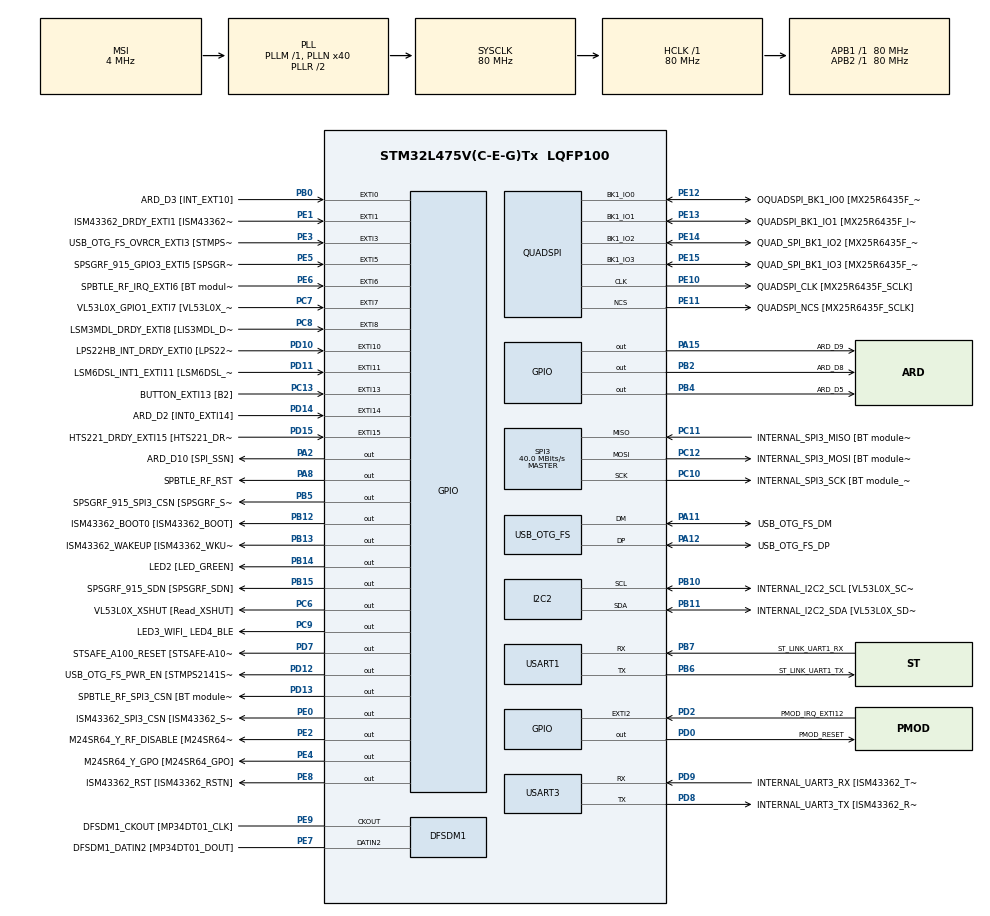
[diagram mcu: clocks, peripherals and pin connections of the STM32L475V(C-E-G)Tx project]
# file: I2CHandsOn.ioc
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Dma.I2C2_RX.0.Direction=DMA_PERIPH_TO_MEMORY
Dma.I2C2_RX.0.Instance=DMA1_Channel5
Dma.I2C2_RX.0.MemDataAlignment=DMA_MDATAALIGN_BYTE
Dma.I2C2_RX.0.MemInc=DMA_MINC_ENABLE
Dma.I2C2_RX.0.Mode=DMA_NORMAL
Dma.I2C2_RX.0.PeriphDataAlignment=DMA_PDATAALIGN_BYTE
Dma.I2C2_RX.0.PeriphInc=DMA_PINC_DISABLE
Dma.I2C2_RX.0.Priority=DMA_PRIORITY_LOW
Dma.I2C2_TX.1.Direction=DMA_MEMORY_TO_PERIPH
Dma.I2C2_TX.1.Instance=DMA1_Channel4
Dma.I2C2_TX.1.MemDataAlignment=DMA_MDATAALIGN_BYTE
Dma.I2C2_TX.1.MemInc=DMA_MINC_ENABLE
Dma.I2C2_TX.1.Mode=DMA_NORMAL
Dma.I2C2_TX.1.PeriphDataAlignment=DMA_PDATAALIGN_BYTE
Dma.I2C2_TX.1.PeriphInc=DMA_PINC_DISABLE
Dma.I2C2_TX.1.Priority=DMA_PRIORITY_LOW
Dma.Request0=I2C2_RX
Dma.Request1=I2C2_TX
I2C2.Timing=0x10909CEC
Mcu.Family=STM32L4
Mcu.Name=STM32L475V(C-E-G)Tx
Mcu.Package=LQFP100
NVIC.DMA1_Channel4_IRQn=true\:0\:0\:false\:false\:true\:false\:true
NVIC.DMA1_Channel5_IRQn=true\:0\:0\:false\:false\:true\:false\:true
NVIC.EXTI15_10_IRQn=true\:0\:0\:false\:false\:true\:true\:true
NVIC.EXTI9_5_IRQn=true\:0\:0\:false\:false\:true\:true\:true
NVIC.I2C2_EV_IRQn=true\:0\:0\:false\:false\:true\:true\:true
NVIC.PriorityGroup=NVIC_PRIORITYGROUP_4
PA0.GPIO_Label=ARD_D1 [UART4_TX]
PA0.Signal=UART4_TX
PA1.GPIO_Label=ARD_D0 [UART4_RX]
PA1.Signal=UART4_RX
PA10.GPIO_Label=USB_OTG_FS_ID
PA10.Signal=USB_OTG_FS_ID
PA11.GPIO_Label=USB_OTG_FS_DM
PA11.Mode=Device_Only
PA11.Signal=USB_OTG_FS_DM
PA12.GPIO_Label=USB_OTG_FS_DP
PA12.Mode=Device_Only
PA12.Signal=USB_OTG_FS_DP
PA13\ (JTMS-SWDIO).GPIO_Label=SYS_JTMS_SWDIO
PA13\ (JTMS-SWDIO).Mode=Serial_Wire
PA13\ (JTMS-SWDIO).Signal=SYS_JTMS-SWDIO
PA14\ (JTCK-SWCLK).GPIO_Label=SYS_JTCK_SWCLK
PA14\ (JTCK-SWCLK).Mode=Serial_Wire
PA14\ (JTCK-SWCLK).Signal=SYS_JTCK-SWCLK
PA15\ (JTDI).GPIO_Label=ARD_D9
PA15\ (JTDI).Signal=GPIO_Output
PA2.GPIO_Label=ARD_D10 [SPI_SSN]
PA2.Signal=GPIO_Output
PA3.GPIO_Label=ARD_D4
PA3.Signal=S_TIM2_CH4
PA4.GPIO_Label=ARD_D7
PA4.Signal=ADCx_IN9
PA5.GPIO_Label=ARD_D13 [SPI1_SCK]
PA5.Signal=SPI1_SCK
PA6.GPIO_Label=ARD_D12 [SPI1_MISO]
PA6.Signal=SPI1_MISO
PA7.GPIO_Label=ARD_D11 [SPI1_MOSI]
PA7.Signal=SPI1_MOSI
PA8.GPIO_Label=SPBTLE_RF_RST
PA8.Signal=GPIO_Output
PA9.GPIO_Label=USB_OTG_FS_VBUS [STMPS2141STR_OUT]
PA9.Signal=USB_OTG_FS_VBUS
PB0.GPIO_Label=ARD_D3 [INT_EXT10]
PB0.Signal=GPXTI0
PB1.GPIO_Label=ARD_D6 [ADC1_IN6]
PB1.Signal=ADCx_IN16
PB10.GPIO_Label=INTERNAL_I2C2_SCL [VL53L0X_SCL]
PB10.GPIO_Pu=GPIO_PULLUP
PB10.Mode=I2C
PB10.Signal=I2C2_SCL
PB11.GPIO_Label=INTERNAL_I2C2_SDA [VL53L0X_SDA]
PB11.GPIO_Pu=GPIO_PULLUP
PB11.Mode=I2C
PB11.Signal=I2C2_SDA
PB12.GPIO_Label=ISM43362_BOOT0 [ISM43362_BOOT]
PB12.Signal=GPIO_Output
PB13.GPIO_Label=ISM43362_WAKEUP [ISM43362_WKUP]
PB13.Signal=GPIO_Output
PB14.GPIO_Label=LED2 [LED_GREEN]
PB14.Signal=GPIO_Output
PB15.GPIO_Label=SPSGRF_915_SDN [SPSGRF_SDN]
PB15.Signal=GPIO_Output
PB2.GPIO_Label=ARD_D8
PB2.Signal=GPIO_Output
PB3\ (JTDO-TRACESWO).GPIO_Label=SYS_JTD0_SWO
PB3\ (JTDO-TRACESWO).Signal=SYS_JTDO-SWO
PB4\ (NJTRST).GPIO_Label=ARD_D5
PB4\ (NJTRST).Signal=GPIO_Output
PB5.GPIO_Label=SPSGRF_915_SPI3_CSN [SPSGRF_SPI_CS]
PB5.PinState=GPIO_PIN_SET
PB5.Signal=GPIO_Output
PB6.GPIO_Label=ST_LINK_UART1_TX
PB6.Mode=Asynchronous
PB6.Signal=USART1_TX
PB7.GPIO_Label=ST_LINK_UART1_RX
PB7.Mode=Asynchronous
PB7.Signal=USART1_RX
PB8.GPIO_Label=ARD_D15 [I2C1_SCL]
PB8.Signal=I2C1_SCL
PB9.GPIO_Label=ARD_D14 [I2C1_SDA]
PB9.Signal=I2C1_SDA
PC0.GPIO_Label=ARD_A5 [ADC]
PC0.Signal=ADCx_IN1
PC1.GPIO_Label=ARD_A4 [ADC]
PC1.Signal=ADCx_IN2
PC10.GPIO_Label=INTERNAL_SPI3_SCK [BT module_SPI_SCLK] [ISM43362_SCK]
PC10.Mode=Full_Duplex_Master
PC10.Signal=SPI3_SCK
PC11.GPIO_Label=INTERNAL_SPI3_MISO [BT module_SPI_MISO] [ISM43362_MISO]
PC11.Mode=Full_Duplex_Master
PC11.Signal=SPI3_MISO
PC12.GPIO_Label=INTERNAL_SPI3_MOSI [BT module_SPI_MOSI] [ISM43362_MOSI]
PC12.Mode=Full_Duplex_Master
PC12.Signal=SPI3_MOSI
PC13.GPIO_Label=BUTTON_EXTI13 [B2]
PC13.GPIO_ModeDefaultEXTI=GPIO_MODE_IT_FALLING
PC13.Signal=GPXTI13
PC14-OSC32_IN\ (PC14).Mode=LSE-External-Oscillator
PC14-OSC32_IN\ (PC14).Signal=RCC_OSC32_IN
PC15-OSC32_OUT\ (PC15).Mode=LSE-External-Oscillator
PC15-OSC32_OUT\ (PC15).Signal=RCC_OSC32_OUT
PC2.GPIO_Label=ARD_A3 [ADC]
PC2.Signal=ADCx_IN3
PC3.GPIO_Label=ARD_A2 [ADC]
PC3.Signal=ADCx_IN4
PC4.GPIO_Label=ARD_A1 [ADC]
PC4.Signal=ADCx_IN13
PC5.GPIO_Label=ARD_A0 [ADC]
PC5.Signal=ADCx_IN14
PC6.GPIO_Label=VL53L0X_XSHUT [Read_XSHUT]
PC6.Signal=GPIO_Output
PC7.GPIO_Label=VL53L0X_GPIO1_EXTI7 [VL53L0X_GPIO1]
PC7.Signal=GPXTI7
PC8.GPIO_Label=LSM3MDL_DRDY_EXTI8 [LIS3MDL_DRDY]
PC8.Signal=GPXTI8
PC9.GPIO_Label=LED3_WIFI_ LED4_BLE
PC9.Signal=GPIO_Output
PD0.GPIO_Label=PMOD_RESET
PD0.Signal=GPIO_Output
PD1.GPIO_Label=PMOD_SPI2_SCK
PD1.Signal=SPI2_SCK
PD10.GPIO_Label=LPS22HB_INT_DRDY_EXTI0 [LPS22HB_INT_DRDY] 
PD10.Signal=GPXTI10
PD11.GPIO_Label=LSM6DSL_INT1_EXTI11 [LSM6DSL_INT1]
PD11.Signal=GPXTI11
PD12.GPIO_Label=USB_OTG_FS_PWR_EN [STMPS2141STR_EN]
PD12.Signal=GPIO_Output
PD13.GPIO_Label=SPBTLE_RF_SPI3_CSN [BT module_SPI_CS]
PD13.PinState=GPIO_PIN_SET
PD13.Signal=GPIO_Output
PD14.GPIO_Label=ARD_D2 [INT0_EXTI14]
PD14.Signal=GPXTI14
PD15.GPIO_Label=HTS221_DRDY_EXTI15 [HTS221_DRDY]
PD15.Signal=GPXTI15
PD2.GPIO_Label=PMOD_IRQ_EXTI12
PD2.Signal=GPXTI2
PD3.GPIO_Label=PMOD_UART2_CTS
PD3.Signal=USART2_CTS
PD4.GPIO_Label=PMOD_UART2_RTS
PD4.Signal=USART2_RTS
PD5.GPIO_Label=PMOD_UART2_TX
PD5.Signal=USART2_TX
PD6.GPIO_Label=PMOD_UART2_RX
PD6.Signal=USART2_RX
PD7.GPIO_Label=STSAFE_A100_RESET [STSAFE-A100_RESET]
PD7.Signal=GPIO_Output
PD8.GPIO_Label=INTERNAL_UART3_TX [ISM43362_RX]
PD8.Mode=Asynchronous
PD8.Signal=USART3_TX
PD9.GPIO_Label=INTERNAL_UART3_RX [ISM43362_TX]
PD9.Mode=Asynchronous
PD9.Signal=USART3_RX
PE0.GPIO_Label=ISM43362_SPI3_CSN [ISM43362_SSN]
PE0.PinState=GPIO_PIN_SET
PE0.Signal=GPIO_Output
PE1.GPIO_Label=ISM43362_DRDY_EXTI1 [ISM43362_DATARDY]
PE1.Signal=GPXTI1
PE10.GPIO_Label=QUADSPI_CLK [MX25R6435F_SCLK]
PE10.Mode=Single Bank
PE10.Signal=QUADSPI_CLK
PE11.GPIO_Label=QUADSPI_NCS [MX25R6435F_SCLK]
PE11.Mode=Single Bank
PE11.Signal=QUADSPI_NCS
PE12.GPIO_Label=OQUADSPI_BK1_IO0 [MX25R6435F_IO0]
PE12.Mode=Single Bank
PE12.Signal=QUADSPI_BK1_IO0
PE13.GPIO_Label=QUADSPI_BK1_IO1 [MX25R6435F_IO1]
PE13.Mode=Single Bank
PE13.Signal=QUADSPI_BK1_IO1
PE14.GPIO_Label=QUAD_SPI_BK1_IO2 [MX25R6435F_IO2]
PE14.Mode=Single Bank
PE14.Signal=QUADSPI_BK1_IO2
PE15.GPIO_Label=QUAD_SPI_BK1_IO3 [MX25R6435F_IO3]
PE15.Mode=Single Bank
PE15.Signal=QUADSPI_BK1_IO3
PE2.GPIO_Label=M24SR64_Y_RF_DISABLE [M24SR64_RFDIS]
PE2.Signal=GPIO_Output
PE3.GPIO_Label=USB_OTG_FS_OVRCR_EXTI3 [STMPS2141STR_FAULT]
PE3.Signal=GPXTI3
PE4.GPIO_Label=M24SR64_Y_GPO [M24SR64_GPO]
PE4.Signal=GPIO_Output
PE5.GPIO_Label=SPSGRF_915_GPIO3_EXTI5 [SPSGRF_GPIO_3]
PE5.Signal=GPXTI5
PE6.GPIO_Label=SPBTLE_RF_IRQ_EXTI6 [BT module_SPI_IRQ]
PE6.Signal=GPXTI6
PE7.GPIO_Label=DFSDM1_DATIN2 [MP34DT01_DOUT]
PE7.Signal=S_DATAIN2DFSDM1
PE8.GPIO_Label=ISM43362_RST [ISM43362_RSTN]
PE8.Signal=GPIO_Output
PE9.GPIO_Label=DFSDM1_CKOUT [MP34DT01_CLK]
PE9.Signal=S_CKOUTDFSDM1
ProjectManager.HeapSize=0x200
ProjectManager.StackSize=0x400
ProjectManager.TargetToolchain=STM32CubeIDE
QUADSPI.ClockPrescaler=2
QUADSPI.FifoThreshold=4
QUADSPI.FlashSize=23
QUADSPI.SampleShifting=QSPI_SAMPLE_SHIFTING_HALFCYCLE
RCC.ADCFreq_Value=48000000
RCC.AHBFreq_Value=80000000
RCC.APB1Freq_Value=80000000
RCC.APB1TimFreq_Value=80000000
RCC.APB2Freq_Value=80000000
RCC.APB2TimFreq_Value=80000000
RCC.CortexFreq_Value=80000000
RCC.HCLKFreq_Value=80000000
RCC.HSE_VALUE=8000000
RCC.HSI_VALUE=16000000
RCC.MSI_VALUE=4000000
RCC.PLLN=40
RCC.PLLSAI1N=24
RCC.SYSCLKFreq_VALUE=80000000
RCC.SYSCLKSource=RCC_SYSCLKSOURCE_PLLCLK
RCC.USBFreq_Value=48000000
RCC.VCOOutputFreq_Value=160000000
SH.ADCx_IN1.0=ADC1_IN1
SH.ADCx_IN13.0=ADC1_IN13
SH.ADCx_IN14.0=ADC1_IN14
SH.ADCx_IN16.0=ADC1_IN16
SH.ADCx_IN2.0=ADC1_IN2
SH.ADCx_IN3.0=ADC1_IN3
SH.ADCx_IN4.0=ADC1_IN4
SH.ADCx_IN9.0=ADC1_IN9
SH.S_CKOUTDFSDM1.0=DFSDM1_CKOUT,CKOUT
SH.S_CKOUTDFSDM1.1=DFSDM1_CKOUT,PDM_SPI_Input_from_ch12_and_Internal_Clock
SH.S_DATAIN2DFSDM1.0=DFSDM1_DATIN2,PDM_SPI_Input_from_ch12_and_Internal_Clock
SH.S_TIM2_CH4.0=TIM2_CH4
SPI3.CalculateBaudRate=40.0 MBits/s
SPI3.Direction=SPI_DIRECTION_2LINES
SPI3.Mode=SPI_MODE_MASTER
SPI3.VirtualType=VM_MASTER
USART1.VirtualMode-Asynchronous=VM_ASYNC
USART3.VirtualMode-Asynchronous=VM_ASYNC
USB_OTG_FS.VirtualMode=Device_Only
board=B-L475E-IOT01A1

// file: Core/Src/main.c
/* USER CODE BEGIN Header */
/**
 ******************************************************************************
 * @file           : main.c
 * @brief          : Main program body
 ******************************************************************************
 * @attention
 *
 * <h2><center>&copy; Copyright (c) 2021 STMicroelectronics.
 * All rights reserved.</center></h2>
 *
 * This software component is licensed by ST under BSD 3-Clause license,
 * the "License"; You may not use this file except in compliance with the
 * License. You may obtain a copy of the License at:
 *                        opensource.org/licenses/BSD-3-Clause
 *
 ******************************************************************************
 */
/* USER CODE END Header */
#include "main.h"

/* USER CODE BEGIN Includes */
#include <string.h>
#include <stdio.h>
/* USER CODE END Includes */

/* USER CODE BEGIN PD */
#define HST221_READ_ADDRESS         0xbf
#define HST221_WRITE_ADDRESS        0xbe
/* USER CODE END PD */

DFSDM_Channel_HandleTypeDef hdfsdm1_channel1;

I2C_HandleTypeDef hi2c2;
DMA_HandleTypeDef hdma_i2c2_rx;
DMA_HandleTypeDef hdma_i2c2_tx;

QSPI_HandleTypeDef hqspi;

SPI_HandleTypeDef hspi3;

UART_HandleTypeDef huart1;
UART_HandleTypeDef huart3;

PCD_HandleTypeDef hpcd_USB_OTG_FS;

/* USER CODE BEGIN PV */

uint8_t irq_tx_complete = 0;
uint8_t irq_rx_complete = 0;
uint16_t temperature_data = 0x4242; // for interrupt and dma
/* USER CODE END PV */

void SystemClock_Config(void);
static void MX_GPIO_Init(void);
static void MX_DFSDM1_Init(void);
static void MX_I2C2_Init(void);
static void MX_QUADSPI_Init(void);
static void MX_SPI3_Init(void);
static void MX_USART1_UART_Init(void);
static void MX_USART3_UART_Init(void);
static void MX_DMA_Init(void);
static void MX_USB_OTG_FS_PCD_Init(void);
/* USER CODE BEGIN PFP */

void do_who_am_i(void);

void do_temp_polling(void);

void do_temp_interrupt(void);

void do_temp_dma(void);

/* USER CODE END PFP */

int main(void) {

    /* MCU Configuration--------------------------------------------------------*/

    /* Reset of all peripherals, Initializes the Flash interface and the Systick. */
    HAL_Init();

    /* Configure the system clock */
    SystemClock_Config();

    /* Initialize all configured peripherals */
    MX_GPIO_Init();
    MX_DFSDM1_Init();
    MX_I2C2_Init();
    MX_QUADSPI_Init();
    MX_SPI3_Init();
    MX_USART1_UART_Init();
    MX_USART3_UART_Init();
    MX_DMA_Init();
    MX_USB_OTG_FS_PCD_Init();

    /* Infinite loop */
    /* USER CODE BEGIN WHILE */
    while (1) {

        // Issue command prompt
        char *prompt = "Options: 1=Who_AM_I, 2=Temp(Polling), 3=Temp(Int), 4=Temp(DMA)\r\ncmd>";
        HAL_UART_Transmit(&huart1, (uint8_t*) prompt, strlen(prompt), 1000);

        char ch;
        HAL_UART_Receive(&huart1, (uint8_t*) &ch, 1, HAL_MAX_DELAY);

        char *msg = "\r\n";
        HAL_UART_Transmit(&huart1, (uint8_t*) msg, strlen(msg), 1000);

        switch (ch) {
            case '1':
                do_who_am_i();
                break;
            case '2':
                do_temp_polling();
                break;
            case '3':
                do_temp_interrupt();
                break;
            case '4':
                do_temp_dma();
                break;
        }

        /* USER CODE END WHILE */

    }
}

void SystemClock_Config(void) {
    RCC_OscInitTypeDef RCC_OscInitStruct = { 0 };
    RCC_ClkInitTypeDef RCC_ClkInitStruct = { 0 };

    /** Configure the main internal regulator output voltage
     */
    if (HAL_PWREx_ControlVoltageScaling(PWR_REGULATOR_VOLTAGE_SCALE1) != HAL_OK) {
        Error_Handler();
    }
    /** Configure LSE Drive Capability
     */
    HAL_PWR_EnableBkUpAccess();
    __HAL_RCC_LSEDRIVE_CONFIG(RCC_LSEDRIVE_LOW);
    /** Initializes the RCC Oscillators according to the specified parameters
     * in the RCC_OscInitTypeDef structure.
     */
    RCC_OscInitStruct.OscillatorType = RCC_OSCILLATORTYPE_LSE | RCC_OSCILLATORTYPE_MSI;
    RCC_OscInitStruct.LSEState = RCC_LSE_ON;
    RCC_OscInitStruct.MSIState = RCC_MSI_ON;
    RCC_OscInitStruct.MSICalibrationValue = 0;
    RCC_OscInitStruct.MSIClockRange = RCC_MSIRANGE_6;
    RCC_OscInitStruct.PLL.PLLState = RCC_PLL_ON;
    RCC_OscInitStruct.PLL.PLLSource = RCC_PLLSOURCE_MSI;
    RCC_OscInitStruct.PLL.PLLM = 1;
    RCC_OscInitStruct.PLL.PLLN = 40;
    RCC_OscInitStruct.PLL.PLLP = RCC_PLLP_DIV7;
    RCC_OscInitStruct.PLL.PLLQ = RCC_PLLQ_DIV2;
    RCC_OscInitStruct.PLL.PLLR = RCC_PLLR_DIV2;
    if (HAL_RCC_OscConfig(&RCC_OscInitStruct) != HAL_OK) {
        Error_Handler();
    }
    /** Initializes the CPU, AHB and APB buses clocks
     */
    RCC_ClkInitStruct.ClockType = RCC_CLOCKTYPE_HCLK | RCC_CLOCKTYPE_SYSCLK | RCC_CLOCKTYPE_PCLK1 | RCC_CLOCKTYPE_PCLK2;
    RCC_ClkInitStruct.SYSCLKSource = RCC_SYSCLKSOURCE_PLLCLK;
    RCC_ClkInitStruct.AHBCLKDivider = RCC_SYSCLK_DIV1;
    RCC_ClkInitStruct.APB1CLKDivider = RCC_HCLK_DIV1;
    RCC_ClkInitStruct.APB2CLKDivider = RCC_HCLK_DIV1;

    if (HAL_RCC_ClockConfig(&RCC_ClkInitStruct, FLASH_LATENCY_4) != HAL_OK) {
        Error_Handler();
    }
    /** Enable MSI Auto calibration
     */
    HAL_RCCEx_EnableMSIPLLMode();
}

static void MX_DFSDM1_Init(void) {

    hdfsdm1_channel1.Instance = DFSDM1_Channel1;
    hdfsdm1_channel1.Init.OutputClock.Activation = ENABLE;
    hdfsdm1_channel1.Init.OutputClock.Selection = DFSDM_CHANNEL_OUTPUT_CLOCK_SYSTEM;
    hdfsdm1_channel1.Init.OutputClock.Divider = 2;
    hdfsdm1_channel1.Init.Input.Multiplexer = DFSDM_CHANNEL_EXTERNAL_INPUTS;
    hdfsdm1_channel1.Init.Input.DataPacking = DFSDM_CHANNEL_STANDARD_MODE;
    hdfsdm1_channel1.Init.Input.Pins = DFSDM_CHANNEL_FOLLOWING_CHANNEL_PINS;
    hdfsdm1_channel1.Init.SerialInterface.Type = DFSDM_CHANNEL_SPI_RISING;
    hdfsdm1_channel1.Init.SerialInterface.SpiClock = DFSDM_CHANNEL_SPI_CLOCK_INTERNAL;
    hdfsdm1_channel1.Init.Awd.FilterOrder = DFSDM_CHANNEL_FASTSINC_ORDER;
    hdfsdm1_channel1.Init.Awd.Oversampling = 1;
    hdfsdm1_channel1.Init.Offset = 0;
    hdfsdm1_channel1.Init.RightBitShift = 0x00;
    if (HAL_DFSDM_ChannelInit(&hdfsdm1_channel1) != HAL_OK) {
        Error_Handler();
    }

}

static void MX_I2C2_Init(void) {

    hi2c2.Instance = I2C2;
    hi2c2.Init.Timing = 0x10909CEC;
    hi2c2.Init.OwnAddress1 = 0;
    hi2c2.Init.AddressingMode = I2C_ADDRESSINGMODE_7BIT;
    hi2c2.Init.DualAddressMode = I2C_DUALADDRESS_DISABLE;
    hi2c2.Init.OwnAddress2 = 0;
    hi2c2.Init.OwnAddress2Masks = I2C_OA2_NOMASK;
    hi2c2.Init.GeneralCallMode = I2C_GENERALCALL_DISABLE;
    hi2c2.Init.NoStretchMode = I2C_NOSTRETCH_DISABLE;
    if (HAL_I2C_Init(&hi2c2) != HAL_OK) {
        Error_Handler();
    }
    /** Configure Analogue filter
     */
    if (HAL_I2CEx_ConfigAnalogFilter(&hi2c2, I2C_ANALOGFILTER_ENABLE) != HAL_OK) {
        Error_Handler();
    }
    /** Configure Digital filter
     */
    if (HAL_I2CEx_ConfigDigitalFilter(&hi2c2, 0) != HAL_OK) {
        Error_Handler();
    }

}

static void MX_QUADSPI_Init(void) {

    /* QUADSPI parameter configuration*/
    hqspi.Instance = QUADSPI;
    hqspi.Init.ClockPrescaler = 2;
    hqspi.Init.FifoThreshold = 4;
    hqspi.Init.SampleShifting = QSPI_SAMPLE_SHIFTING_HALFCYCLE;
    hqspi.Init.FlashSize = 23;
    hqspi.Init.ChipSelectHighTime = QSPI_CS_HIGH_TIME_1_CYCLE;
    hqspi.Init.ClockMode = QSPI_CLOCK_MODE_0;
    if (HAL_QSPI_Init(&hqspi) != HAL_OK) {
        Error_Handler();
    }

}

static void MX_SPI3_Init(void) {

    /* SPI3 parameter configuration*/
    hspi3.Instance = SPI3;
    hspi3.Init.Mode = SPI_MODE_MASTER;
    hspi3.Init.Direction = SPI_DIRECTION_2LINES;
    hspi3.Init.DataSize = SPI_DATASIZE_4BIT;
    hspi3.Init.CLKPolarity = SPI_POLARITY_LOW;
    hspi3.Init.CLKPhase = SPI_PHASE_1EDGE;
    hspi3.Init.NSS = SPI_NSS_SOFT;
    hspi3.Init.BaudRatePrescaler = SPI_BAUDRATEPRESCALER_2;
    hspi3.Init.FirstBit = SPI_FIRSTBIT_MSB;
    hspi3.Init.TIMode = SPI_TIMODE_DISABLE;
    hspi3.Init.CRCCalculation = SPI_CRCCALCULATION_DISABLE;
    hspi3.Init.CRCPolynomial = 7;
    hspi3.Init.CRCLength = SPI_CRC_LENGTH_DATASIZE;
    hspi3.Init.NSSPMode = SPI_NSS_PULSE_ENABLE;
    if (HAL_SPI_Init(&hspi3) != HAL_OK) {
        Error_Handler();
    }

}

static void MX_USART1_UART_Init(void) {

    huart1.Instance = USART1;
    huart1.Init.BaudRate = 115200;
    huart1.Init.WordLength = UART_WORDLENGTH_8B;
    huart1.Init.StopBits = UART_STOPBITS_1;
    huart1.Init.Parity = UART_PARITY_NONE;
    huart1.Init.Mode = UART_MODE_TX_RX;
    huart1.Init.HwFlowCtl = UART_HWCONTROL_NONE;
    huart1.Init.OverSampling = UART_OVERSAMPLING_16;
    huart1.Init.OneBitSampling = UART_ONE_BIT_SAMPLE_DISABLE;
    huart1.AdvancedInit.AdvFeatureInit = UART_ADVFEATURE_NO_INIT;
    if (HAL_UART_Init(&huart1) != HAL_OK) {
        Error_Handler();
    }

}

static void MX_USART3_UART_Init(void) {

    huart3.Instance = USART3;
    huart3.Init.BaudRate = 115200;
    huart3.Init.WordLength = UART_WORDLENGTH_8B;
    huart3.Init.StopBits = UART_STOPBITS_1;
    huart3.Init.Parity = UART_PARITY_NONE;
    huart3.Init.Mode = UART_MODE_TX_RX;
    huart3.Init.HwFlowCtl = UART_HWCONTROL_NONE;
    huart3.Init.OverSampling = UART_OVERSAMPLING_16;
    huart3.Init.OneBitSampling = UART_ONE_BIT_SAMPLE_DISABLE;
    huart3.AdvancedInit.AdvFeatureInit = UART_ADVFEATURE_NO_INIT;
    if (HAL_UART_Init(&huart3) != HAL_OK) {
        Error_Handler();
    }

}

static void MX_USB_OTG_FS_PCD_Init(void) {

    hpcd_USB_OTG_FS.Instance = USB_OTG_FS;
    hpcd_USB_OTG_FS.Init.dev_endpoints = 6;
    hpcd_USB_OTG_FS.Init.speed = PCD_SPEED_FULL;
    hpcd_USB_OTG_FS.Init.phy_itface = PCD_PHY_EMBEDDED;
    hpcd_USB_OTG_FS.Init.Sof_enable = DISABLE;
    hpcd_USB_OTG_FS.Init.low_power_enable = DISABLE;
    hpcd_USB_OTG_FS.Init.lpm_enable = DISABLE;
    hpcd_USB_OTG_FS.Init.battery_charging_enable = DISABLE;
    hpcd_USB_OTG_FS.Init.use_dedicated_ep1 = DISABLE;
    hpcd_USB_OTG_FS.Init.vbus_sensing_enable = DISABLE;
    if (HAL_PCD_Init(&hpcd_USB_OTG_FS) != HAL_OK) {
        Error_Handler();
    }

}

static void MX_DMA_Init(void) {

    /* DMA controller clock enable */
    __HAL_RCC_DMA1_CLK_ENABLE();

    /* DMA interrupt init */
    /* DMA1_Channel4_IRQn interrupt configuration */
    HAL_NVIC_SetPriority(DMA1_Channel4_IRQn, 0, 0);
    HAL_NVIC_EnableIRQ(DMA1_Channel4_IRQn);
    /* DMA1_Channel5_IRQn interrupt configuration */
    HAL_NVIC_SetPriority(DMA1_Channel5_IRQn, 0, 0);
    HAL_NVIC_EnableIRQ(DMA1_Channel5_IRQn);

}

static void MX_GPIO_Init(void) {
    GPIO_InitTypeDef GPIO_InitStruct = { 0 };

    /* GPIO Ports Clock Enable */
    __HAL_RCC_GPIOE_CLK_ENABLE();
    __HAL_RCC_GPIOC_CLK_ENABLE();
    __HAL_RCC_GPIOA_CLK_ENABLE();
    __HAL_RCC_GPIOB_CLK_ENABLE();
    __HAL_RCC_GPIOD_CLK_ENABLE();

    /*Configure GPIO pin Output Level */
    HAL_GPIO_WritePin(GPIOE, M24SR64_Y_RF_DISABLE_Pin | M24SR64_Y_GPO_Pin | ISM43362_RST_Pin, GPIO_PIN_RESET);

    /*Configure GPIO pin Output Level */
    HAL_GPIO_WritePin(GPIOA, ARD_D10_Pin | SPBTLE_RF_RST_Pin | ARD_D9_Pin, GPIO_PIN_RESET);

    /*Configure GPIO pin Output Level */
    HAL_GPIO_WritePin(GPIOB,
    ARD_D8_Pin | ISM43362_BOOT0_Pin | ISM43362_WAKEUP_Pin | LED2_Pin | SPSGRF_915_SDN_Pin | ARD_D5_Pin, GPIO_PIN_RESET);

    /*Configure GPIO pin Output Level */
    HAL_GPIO_WritePin(GPIOD, USB_OTG_FS_PWR_EN_Pin | PMOD_RESET_Pin | STSAFE_A100_RESET_Pin, GPIO_PIN_RESET);

    /*Configure GPIO pin Output Level */
    HAL_GPIO_WritePin(SPBTLE_RF_SPI3_CSN_GPIO_Port, SPBTLE_RF_SPI3_CSN_Pin, GPIO_PIN_SET);

    /*Configure GPIO pin Output Level */
    HAL_GPIO_WritePin(GPIOC, VL53L0X_XSHUT_Pin | LED3_WIFI__LED4_BLE_Pin, GPIO_PIN_RESET);

    /*Configure GPIO pin Output Level */
    HAL_GPIO_WritePin(SPSGRF_915_SPI3_CSN_GPIO_Port, SPSGRF_915_SPI3_CSN_Pin, GPIO_PIN_SET);

    /*Configure GPIO pin Output Level */
    HAL_GPIO_WritePin(ISM43362_SPI3_CSN_GPIO_Port, ISM43362_SPI3_CSN_Pin, GPIO_PIN_SET);

    /*Configure GPIO pins : M24SR64_Y_RF_DISABLE_Pin M24SR64_Y_GPO_Pin ISM43362_RST_Pin ISM43362_SPI3_CSN_Pin */
    GPIO_InitStruct.Pin = M24SR64_Y_RF_DISABLE_Pin | M24SR64_Y_GPO_Pin | ISM43362_RST_Pin | ISM43362_SPI3_CSN_Pin;
    GPIO_InitStruct.Mode = GPIO_MODE_OUTPUT_PP;
    GPIO_InitStruct.Pull = GPIO_NOPULL;
    GPIO_InitStruct.Speed = GPIO_SPEED_FREQ_LOW;
    HAL_GPIO_Init(GPIOE, &GPIO_InitStruct);

    /*Configure GPIO pins : USB_OTG_FS_OVRCR_EXTI3_Pin SPSGRF_915_GPIO3_EXTI5_Pin SPBTLE_RF_IRQ_EXTI6_Pin ISM43362_DRDY_EXTI1_Pin */
    GPIO_InitStruct.Pin = USB_OTG_FS_OVRCR_EXTI3_Pin | SPSGRF_915_GPIO3_EXTI5_Pin | SPBTLE_RF_IRQ_EXTI6_Pin
            | ISM43362_DRDY_EXTI1_Pin;
    GPIO_InitStruct.Mode = GPIO_MODE_IT_RISING;
    GPIO_InitStruct.Pull = GPIO_NOPULL;
    HAL_GPIO_Init(GPIOE, &GPIO_InitStruct);

    /*Configure GPIO pin : BUTTON_EXTI13_Pin */
    GPIO_InitStruct.Pin = BUTTON_EXTI13_Pin;
    GPIO_InitStruct.Mode = GPIO_MODE_IT_FALLING;
    GPIO_InitStruct.Pull = GPIO_NOPULL;
    HAL_GPIO_Init(BUTTON_EXTI13_GPIO_Port, &GPIO_InitStruct);

    /*Configure GPIO pins : ARD_A5_Pin ARD_A4_Pin ARD_A3_Pin ARD_A2_Pin
     ARD_A1_Pin ARD_A0_Pin */
    GPIO_InitStruct.Pin = ARD_A5_Pin | ARD_A4_Pin | ARD_A3_Pin | ARD_A2_Pin | ARD_A1_Pin | ARD_A0_Pin;
    GPIO_InitStruct.Mode = GPIO_MODE_ANALOG_ADC_CONTROL;
    GPIO_InitStruct.Pull = GPIO_NOPULL;
    HAL_GPIO_Init(GPIOC, &GPIO_InitStruct);

    /*Configure GPIO pins : ARD_D1_Pin ARD_D0_Pin */
    GPIO_InitStruct.Pin = ARD_D1_Pin | ARD_D0_Pin;
    GPIO_InitStruct.Mode = GPIO_MODE_AF_PP;
    GPIO_InitStruct.Pull = GPIO_NOPULL;
    GPIO_InitStruct.Speed = GPIO_SPEED_FREQ_VERY_HIGH;
    GPIO_InitStruct.Alternate = GPIO_AF8_UART4;
    HAL_GPIO_Init(GPIOA, &GPIO_InitStruct);

    /*Configure GPIO pins : ARD_D10_Pin SPBTLE_RF_RST_Pin ARD_D9_Pin */
    GPIO_InitStruct.Pin = ARD_D10_Pin | SPBTLE_RF_RST_Pin | ARD_D9_Pin;
    GPIO_InitStruct.Mode = GPIO_MODE_OUTPUT_PP;
    GPIO_InitStruct.Pull = GPIO_NOPULL;
    GPIO_InitStruct.Speed = GPIO_SPEED_FREQ_LOW;
    HAL_GPIO_Init(GPIOA, &GPIO_InitStruct);

    /*Configure GPIO pin : ARD_D4_Pin */
    GPIO_InitStruct.Pin = ARD_D4_Pin;
    GPIO_InitStruct.Mode = GPIO_MODE_AF_PP;
    GPIO_InitStruct.Pull = GPIO_NOPULL;
    GPIO_InitStruct.Speed = GPIO_SPEED_FREQ_LOW;
    GPIO_InitStruct.Alternate = GPIO_AF1_TIM2;
    HAL_GPIO_Init(ARD_D4_GPIO_Port, &GPIO_InitStruct);

    /*Configure GPIO pin : ARD_D7_Pin */
    GPIO_InitStruct.Pin = ARD_D7_Pin;
    GPIO_InitStruct.Mode = GPIO_MODE_ANALOG_ADC_CONTROL;
    GPIO_InitStruct.Pull = GPIO_NOPULL;
    HAL_GPIO_Init(ARD_D7_GPIO_Port, &GPIO_InitStruct);

    /*Configure GPIO pins : ARD_D13_Pin ARD_D12_Pin ARD_D11_Pin */
    GPIO_InitStruct.Pin = ARD_D13_Pin | ARD_D12_Pin | ARD_D11_Pin;
    GPIO_InitStruct.Mode = GPIO_MODE_AF_PP;
    GPIO_InitStruct.Pull = GPIO_NOPULL;
    GPIO_InitStruct.Speed = GPIO_SPEED_FREQ_VERY_HIGH;
    GPIO_InitStruct.Alternate = GPIO_AF5_SPI1;
    HAL_GPIO_Init(GPIOA, &GPIO_InitStruct);

    /*Configure GPIO pin : ARD_D3_Pin */
    GPIO_InitStruct.Pin = ARD_D3_Pin;
    GPIO_InitStruct.Mode = GPIO_MODE_IT_RISING;
    GPIO_InitStruct.Pull = GPIO_NOPULL;
    HAL_GPIO_Init(ARD_D3_GPIO_Port, &GPIO_InitStruct);

    /*Configure GPIO pin : ARD_D6_Pin */
    GPIO_InitStruct.Pin = ARD_D6_Pin;
    GPIO_InitStruct.Mode = GPIO_MODE_ANALOG_ADC_CONTROL;
    GPIO_InitStruct.Pull = GPIO_NOPULL;
    HAL_GPIO_Init(ARD_D6_GPIO_Port, &GPIO_InitStruct);

    /*Configure GPIO pins : ARD_D8_Pin ISM43362_BOOT0_Pin ISM43362_WAKEUP_Pin LED2_Pin
     SPSGRF_915_SDN_Pin ARD_D5_Pin SPSGRF_915_SPI3_CSN_Pin */
    GPIO_InitStruct.Pin = ARD_D8_Pin | ISM43362_BOOT0_Pin | ISM43362_WAKEUP_Pin | LED2_Pin | SPSGRF_915_SDN_Pin
            | ARD_D5_Pin | SPSGRF_915_SPI3_CSN_Pin;
    GPIO_InitStruct.Mode = GPIO_MODE_OUTPUT_PP;
    GPIO_InitStruct.Pull = GPIO_NOPULL;
    GPIO_InitStruct.Speed = GPIO_SPEED_FREQ_LOW;
    HAL_GPIO_Init(GPIOB, &GPIO_InitStruct);

    /*Configure GPIO pins : LPS22HB_INT_DRDY_EXTI0_Pin LSM6DSL_INT1_EXTI11_Pin ARD_D2_Pin HTS221_DRDY_EXTI15_Pin
     PMOD_IRQ_EXTI12_Pin */
    GPIO_InitStruct.Pin = LPS22HB_INT_DRDY_EXTI0_Pin | LSM6DSL_INT1_EXTI11_Pin | ARD_D2_Pin | HTS221_DRDY_EXTI15_Pin
            | PMOD_IRQ_EXTI12_Pin;
    GPIO_InitStruct.Mode = GPIO_MODE_IT_RISING;
    GPIO_InitStruct.Pull = GPIO_NOPULL;
    HAL_GPIO_Init(GPIOD, &GPIO_InitStruct);

    /*Configure GPIO pins : USB_OTG_FS_PWR_EN_Pin SPBTLE_RF_SPI3_CSN_Pin PMOD_RESET_Pin STSAFE_A100_RESET_Pin */
    GPIO_InitStruct.Pin = USB_OTG_FS_PWR_EN_Pin | SPBTLE_RF_SPI3_CSN_Pin | PMOD_RESET_Pin | STSAFE_A100_RESET_Pin;
    GPIO_InitStruct.Mode = GPIO_MODE_OUTPUT_PP;
    GPIO_InitStruct.Pull = GPIO_NOPULL;
    GPIO_InitStruct.Speed = GPIO_SPEED_FREQ_LOW;
    HAL_GPIO_Init(GPIOD, &GPIO_InitStruct);

    /*Configure GPIO pins : VL53L0X_XSHUT_Pin LED3_WIFI__LED4_BLE_Pin */
    GPIO_InitStruct.Pin = VL53L0X_XSHUT_Pin | LED3_WIFI__LED4_BLE_Pin;
    GPIO_InitStruct.Mode = GPIO_MODE_OUTPUT_PP;
    GPIO_InitStruct.Pull = GPIO_NOPULL;
    GPIO_InitStruct.Speed = GPIO_SPEED_FREQ_LOW;
    HAL_GPIO_Init(GPIOC, &GPIO_InitStruct);

    /*Configure GPIO pins : VL53L0X_GPIO1_EXTI7_Pin LSM3MDL_DRDY_EXTI8_Pin */
    GPIO_InitStruct.Pin = VL53L0X_GPIO1_EXTI7_Pin | LSM3MDL_DRDY_EXTI8_Pin;
    GPIO_InitStruct.Mode = GPIO_MODE_IT_RISING;
    GPIO_InitStruct.Pull = GPIO_NOPULL;
    HAL_GPIO_Init(GPIOC, &GPIO_InitStruct);

    /*Configure GPIO pin : PMOD_SPI2_SCK_Pin */
    GPIO_InitStruct.Pin = PMOD_SPI2_SCK_Pin;
    GPIO_InitStruct.Mode = GPIO_MODE_AF_PP;
    GPIO_InitStruct.Pull = GPIO_NOPULL;
    GPIO_InitStruct.Speed = GPIO_SPEED_FREQ_VERY_HIGH;
    GPIO_InitStruct.Alternate = GPIO_AF5_SPI2;
    HAL_GPIO_Init(PMOD_SPI2_SCK_GPIO_Port, &GPIO_InitStruct);

    /*Configure GPIO pins : PMOD_UART2_CTS_Pin PMOD_UART2_RTS_Pin PMOD_UART2_TX_Pin PMOD_UART2_RX_Pin */
    GPIO_InitStruct.Pin = PMOD_UART2_CTS_Pin | PMOD_UART2_RTS_Pin | PMOD_UART2_TX_Pin | PMOD_UART2_RX_Pin;
    GPIO_InitStruct.Mode = GPIO_MODE_AF_PP;
    GPIO_InitStruct.Pull = GPIO_NOPULL;
    GPIO_InitStruct.Speed = GPIO_SPEED_FREQ_VERY_HIGH;
    GPIO_InitStruct.Alternate = GPIO_AF7_USART2;
    HAL_GPIO_Init(GPIOD, &GPIO_InitStruct);

    /*Configure GPIO pins : ARD_D15_Pin ARD_D14_Pin */
    GPIO_InitStruct.Pin = ARD_D15_Pin | ARD_D14_Pin;
    GPIO_InitStruct.Mode = GPIO_MODE_AF_OD;
    GPIO_InitStruct.Pull = GPIO_NOPULL;
    GPIO_InitStruct.Speed = GPIO_SPEED_FREQ_VERY_HIGH;
    GPIO_InitStruct.Alternate = GPIO_AF4_I2C1;
    HAL_GPIO_Init(GPIOB, &GPIO_InitStruct);

    /* EXTI interrupt init*/
    HAL_NVIC_SetPriority(EXTI9_5_IRQn, 0, 0);
    HAL_NVIC_EnableIRQ(EXTI9_5_IRQn);

    HAL_NVIC_SetPriority(EXTI15_10_IRQn, 0, 0);
    HAL_NVIC_EnableIRQ(EXTI15_10_IRQn);

}

/* USER CODE BEGIN 4 */
void do_who_am_i(void) {

    // Step 1. Send sub address
    // Write sub address
    uint8_t who_am_i = 0xf;
    HAL_StatusTypeDef status;
    status = HAL_I2C_Master_Transmit(&hi2c2, HST221_WRITE_ADDRESS, &who_am_i, sizeof(who_am_i), 1000);

    char buff[100];
    snprintf(buff, sizeof(buff), "HAL_I2C_Master_Transmit: status: %u\r\n", status);
    HAL_UART_Transmit(&huart1, (uint8_t*) buff, strlen(buff), 1000);

    // Step 2. Read from address to get WHO_AM_I
    uint8_t data = 0x42;
    status = HAL_I2C_Master_Receive(&hi2c2, HST221_READ_ADDRESS, &data, sizeof(data), 1000);

    snprintf(buff, sizeof(buff), "HAL_I2C_Master_Receive: status = %u, data = 0x%x\r\n", status, data);
    HAL_UART_Transmit(&huart1, (uint8_t*) buff, strlen(buff), 1000);
}

void do_temp_polling(void) {

    // start conversion
    uint8_t control_reg = 0x21;
    uint8_t control_data[] = { control_reg, 0x01 };

    HAL_StatusTypeDef status;
    status = HAL_I2C_Master_Transmit(&hi2c2, HST221_WRITE_ADDRESS, control_data, sizeof(control_data), 1000);

    char buff[100];
    snprintf(buff, sizeof(buff), "(One-Shot Enable): HAL_I2C_Master_Transmit: status: %u\r\n", status);
    HAL_UART_Transmit(&huart1, (uint8_t*) buff, strlen(buff), 1000);

    // wait for conversion completion
    uint8_t status_reg = 0x27;
    uint8_t status_data = 0;

    uint8_t count = 0;
    while (count < 10) {

        // send read status register sub command
        status = HAL_I2C_Master_Transmit(&hi2c2, HST221_WRITE_ADDRESS, &status_reg, sizeof(status_reg), 1000);
        snprintf(buff, sizeof(buff), "[%d] (status_reg): HAL_I2C_Master_Transmit: status: %u\r\n", count, status);
        HAL_UART_Transmit(&huart1, (uint8_t*) buff, strlen(buff), 1000);

        // read conversion status
        status = HAL_I2C_Master_Receive(&hi2c2, HST221_READ_ADDRESS, (uint8_t*) &status_data, sizeof(status_data),
            1000);
        snprintf(buff, sizeof(buff), "Status Register: 0x%02x\r\n", status_data);
        HAL_UART_Transmit(&huart1, (uint8_t*) buff, strlen(buff), 1000);

        // check for temperature conversion complete
        if (status_data & 0x01) {
            snprintf(buff, sizeof(buff), "New Temp Data Available!\r\n");
            HAL_UART_Transmit(&huart1, buff, strlen(buff), 1000);
            break;
        }

        HAL_Delay(1000);
        count++;
    }

    // Read using auto increment
    uint8_t temperature_lsb = 0x2a | 0x80;
    status = HAL_I2C_Master_Transmit(&hi2c2, HST221_WRITE_ADDRESS, &temperature_lsb, sizeof(temperature_lsb), 1000);
    snprintf(buff, sizeof(buff), "(Auto Increment): HAL_I2C_Master_Transmit: status: %u\r\n", status);
    HAL_UART_Transmit(&huart1, (uint8_t*) buff, strlen(buff), 1000);

    // Read both values back in one read
    uint16_t data = 0x4242;
    status = HAL_I2C_Master_Receive(&hi2c2, HST221_READ_ADDRESS, (uint8_t*) &data, sizeof(data), 1000);
    snprintf(buff, sizeof(buff), "(Auto Increment): HAL_I2C_Master_Receive: status: %u, data: 0x%04x\r\n", status,
        data);
    HAL_UART_Transmit(&huart1, (uint8_t*) buff, strlen(buff), 1000);

}

void do_temp_interrupt(void) {
    // Clear flags
    irq_tx_complete = 0;
    irq_rx_complete = 0;

    // start conversion
    char buff[100];
    uint8_t control_reg = 0x21;
    uint8_t control_data[] = { control_reg, 0x01 };
    HAL_StatusTypeDef status;

    status = HAL_I2C_Master_Transmit_IT(&hi2c2, HST221_WRITE_ADDRESS, control_data, sizeof(control_data));
    snprintf(buff, sizeof(buff), "(One-shot enabled): HAL_I2C_Master_Transmit_IT: status %u\n", status);
    HAL_UART_Transmit(&huart1, (uint8_t*) buff, strlen(buff), 1000);

    // wait for irq to finish
    while (irq_tx_complete == 0) {
        HAL_Delay(1000);
    }

    // Clear flag
    irq_tx_complete = 0;

    // Read using auto increment over interrupt
    uint8_t tempRegLSB = 0x2a | 0x80;
    status = HAL_I2C_Master_Transmit_IT(&hi2c2, HST221_WRITE_ADDRESS, &tempRegLSB, sizeof(tempRegLSB));
    snprintf(buff, sizeof(buff), "(Auto-increment): HAL_I2C_Master_Transmit_IT: status: %u\n", status);
    HAL_UART_Transmit(&huart1, (uint8_t*) buff, strlen(buff), 1000);

    // Wait for interrupt to complete
    while (irq_tx_complete == 0) {
        HAL_Delay(1000);
    }

    // Read both values back in one read
    status = HAL_I2C_Master_Receive_IT(&hi2c2, HST221_READ_ADDRESS, (uint8_t*) &temperature_data,
        sizeof(temperature_data));
    snprintf(buff, sizeof(buff),
        "(Auto-increment): HAL_I2C_Master_Receive_IT: status: %u; temperature data: 0x%04x\n\n", status,
        temperature_data);
    HAL_UART_Transmit(&huart1, (uint8_t*) buff, strlen(buff), 1000);
}

void do_temp_dma(void) {
    // Clear flags
    irq_tx_complete = 0;
    irq_rx_complete = 0;

    // start conversion
    char buff[100] = { 0 };
    uint8_t control_reg = 0x21;
    uint8_t control_data[] = { control_reg, 0x01 };
    HAL_StatusTypeDef status;

    status = HAL_I2C_Master_Transmit_DMA(&hi2c2, HST221_WRITE_ADDRESS, control_data, sizeof(control_data));
    snprintf(buff, sizeof(buff), "(One-shot enabled): HAL_I2C_Master_Transmit_DMA: status %u\n", status);
    HAL_UART_Transmit(&huart1, (uint8_t*) buff, strlen(buff), 1000);

    // wait for irq to finish
    while (irq_tx_complete == 0) {
        HAL_Delay(100);
    }

    // Clear flag
    irq_tx_complete = 0;

    // Read using auto increment using dma
    uint8_t tempRegLSB = 0x2a | 0x80;
    status = HAL_I2C_Master_Transmit_DMA(&hi2c2, HST221_WRITE_ADDRESS, &tempRegLSB, sizeof(tempRegLSB));
    snprintf(buff, sizeof(buff), "(Auto-increment): HAL_I2C_Master_Transmit_DMA: status: %u\n", status);
    HAL_UART_Transmit(&huart1, (uint8_t*) buff, strlen(buff), 1000);

    // Wait for interrupt to complete
    while (irq_tx_complete == 0) {
        HAL_Delay(100);
    }

    // Read both values back in one read
    status = HAL_I2C_Master_Receive_DMA(&hi2c2, HST221_READ_ADDRESS, (uint8_t*) &temperature_data,
        sizeof(temperature_data));
    snprintf(buff, sizeof(buff),
        "\t(Auto-increment): HAL_I2C_Master_Receive_DMA: status: %u; temperature data: 0x%04x\n\n", status,
        temperature_data);
    HAL_UART_Transmit(&huart1, (uint8_t*) buff, strlen(buff), 1000);
}

void HAL_I2C_MasterTxCpltCallback(I2C_HandleTypeDef *hi2c) {

    HAL_GPIO_TogglePin(LED2_GPIO_Port, LED2_Pin);

    irq_tx_complete = 1;
}

void HAL_I2C_MasterRxCpltCallback(I2C_HandleTypeDef *hi2c) {
    HAL_GPIO_TogglePin(LED2_GPIO_Port, LED2_Pin);

    irq_rx_complete = 1;
}
/* USER CODE END 4 */

void Error_Handler(void) {
    __disable_irq();
    while (1) {
    }
}

/************************ (C) COPYRIGHT STMicroelectronics *****END OF FILE****/
